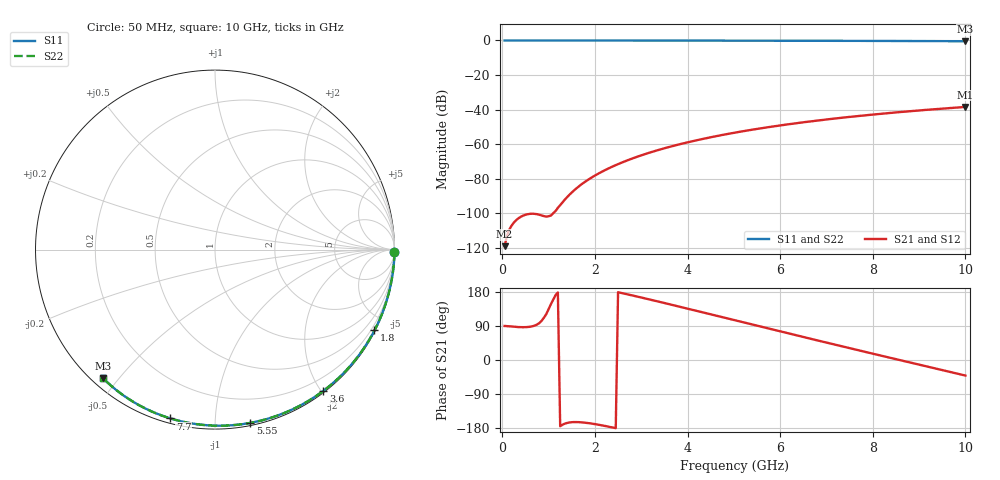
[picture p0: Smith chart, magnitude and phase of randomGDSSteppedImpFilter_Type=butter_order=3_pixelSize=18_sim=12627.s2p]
! freq	dB(S11)	phase(S11)	dB(S12)	phase(S12)
!  dB(S21)	phase(S21)	dB(S22)	phase(S22)
!S-par simulation data
#  GHz  S  DB  R 50
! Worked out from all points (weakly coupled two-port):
!   200 points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, 50 MHz to 10 GHz, reference 50 ohm
!   highest |S21| = -38.46 dB at 10 GHz (marker M1); lowest = -118.9 dB at 50 MHz (marker M2)
!   lowest |S11| = -0.4 dB at 10 GHz (marker M3), VSWR 39.09, Z = 1.54 - j22.7 ohm
!   |S11| at or under -10 dB: nowhere
!   |S22| runs from -0.4 to 0.0 dB; largest |S21 - S12| = 0
!   S11 on the Smith chart (normalised r, x): 50 MHz: open; 1.8 GHz: 0.04, -4.19; 3.6 GHz: 0.02, -2.03; 5.55 GHz: 0.02, -1.22; 7.7 GHz: 0.02, -0.77; 10 GHz: 0.03, -0.45
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0.05  -0.00 -0.8  -118.95 89.8  -118.95 89.8  -0.00 -0.8
0.9  -0.02 -13.6  -101.59 111.8  -101.59 111.8  -0.02 -13.6
1.75  -0.03 -26.1  -82.42 -164.9  -82.42 -164.9  -0.03 -26.1
1.8  -0.03 -26.9  -81.48 -165.6  -81.48 -165.6  -0.03 -26.9
1.85  -0.04 -27.6  -80.59 -166.3  -80.59 -166.3  -0.04 -27.6
1.9  -0.04 -28.3  -79.74 -167.2  -79.74 -167.2  -0.04 -28.3
2.05  -0.04 -30.5  -77.36 -170.2  -77.36 -170.2  -0.04 -30.5
2.25  -0.04 -33.4  -74.55 -174.8  -74.55 -174.8  -0.04 -33.4
2.45  -0.05 -36.3  -72.07 -179.9  -72.07 -179.9  -0.05 -36.3
2.65  -0.05 -39.2  -69.85 174.8  -69.85 174.8  -0.05 -39.2
3  -0.06 -44.1  -66.44 165.0  -66.44 165.0  -0.06 -44.1
3.4  -0.07 -49.8  -63.10 153.3  -63.10 153.3  -0.07 -49.8
3.6  -0.07 -52.5  -61.61 147.4  -61.61 147.4  -0.07 -52.5
4.3  -0.09 -62.1  -57.10 126.6  -57.10 126.6  -0.09 -62.1
5.05  -0.11 -72.0  -53.17 104.1  -53.17 104.1  -0.11 -72.0
5.55  -0.13 -78.5  -50.94 89.1  -50.94 89.1  -0.13 -78.5
6.1  -0.15 -85.4  -48.76 72.6  -48.76 72.6  -0.15 -85.4
6.7  -0.18 -92.8  -46.65 54.8  -46.65 54.8  -0.18 -92.8
7.7  -0.24 -104.8  -43.65 25.4  -43.65 25.4  -0.24 -104.8
8.35  -0.29 -112.4  -41.98 6.5  -41.98 6.5  -0.29 -112.4
9.15  -0.36 -121.5  -40.15 -16.6  -40.15 -16.6  -0.36 -121.5
10  -0.44 -131.1  -38.46 -41.0  -38.46 -41.0  -0.44 -131.1
